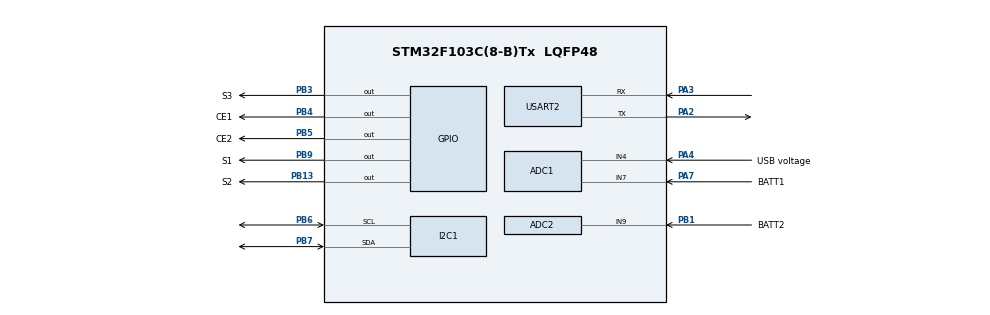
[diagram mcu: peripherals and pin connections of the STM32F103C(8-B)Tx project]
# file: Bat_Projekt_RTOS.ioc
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ADC1.Channel-1\#ChannelRegularConversion=ADC_CHANNEL_4
ADC1.NbrOfConversionFlag=1
ADC1.Rank-1\#ChannelRegularConversion=1
ADC1.SamplingTime-1\#ChannelRegularConversion=ADC_SAMPLETIME_1CYCLE_5
ADC1.master=1
ADC2.Channel-0\#ChannelRegularConversion=ADC_CHANNEL_9
ADC2.NbrOfConversionFlag=1
ADC2.Rank-0\#ChannelRegularConversion=1
ADC2.SamplingTime-0\#ChannelRegularConversion=ADC_SAMPLETIME_1CYCLE_5
Mcu.Family=STM32F1
Mcu.Name=STM32F103C(8-B)Tx
Mcu.Package=LQFP48
NVIC.PriorityGroup=NVIC_PRIORITYGROUP_4
PA2.Mode=Asynchronous
PA2.Signal=USART2_TX
PA3.Mode=Asynchronous
PA3.Signal=USART2_RX
PA4.GPIO_Label=USB voltage
PA4.Signal=ADCx_IN4
PA7.GPIO_Label=BATT1
PA7.Signal=ADCx_IN7
PB1.GPIO_Label=BATT2
PB1.Signal=ADCx_IN9
PB13.GPIO_Label=S2
PB13.Signal=GPIO_Output
PB3.GPIO_Label=S3
PB3.Signal=GPIO_Output
PB4.GPIO_Label=CE1
PB4.Signal=GPIO_Output
PB5.GPIO_Label=CE2
PB5.Signal=GPIO_Output
PB6.Mode=I2C
PB6.Signal=I2C1_SCL
PB7.Mode=I2C
PB7.Signal=I2C1_SDA
PB9.GPIO_Label=S1
PB9.Signal=GPIO_Output
ProjectManager.HeapSize=0x200
ProjectManager.StackSize=0x400
ProjectManager.TargetToolchain=STM32CubeIDE
RCC.APB1Freq_Value=8000000
RCC.APB2Freq_Value=8000000
SH.ADCx_IN4.0=ADC1_IN4,IN4
SH.ADCx_IN7.0=ADC1_IN7,IN7
SH.ADCx_IN9.0=ADC2_IN9,IN9
USART2.VirtualMode=VM_ASYNC
board=custom

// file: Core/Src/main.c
/* USER CODE BEGIN Header */
/**
  ******************************************************************************
  * @file           : main.c
  * @brief          : Main program body
  ******************************************************************************
  * @attention
  *
  * Copyright (c) 2023 STMicroelectronics.
  * All rights reserved.
  *
  * This software is licensed under terms that can be found in the LICENSE file
  * in the root directory of this software component.
  * If no LICENSE file comes with this software, it is provided AS-IS.
  *
  ******************************************************************************
  */
/* USER CODE END Header */
#include "main.h"

/* USER CODE BEGIN Includes */
#include <stdint.h>
#include "Rtosinclude.h"
#include "Queue.h"
#include "Mutex.h"
#include "Events.h"
#include <math.h>
#include <stdio.h>
#if !defined(__SOFT_FP__) && defined(__ARM_FP)
  #warning "FPU is not initialized, but the project is compiling for an FPU. Please initialize the FPU before use."
#endif

/* USER CODE END Includes */

/* USER CODE BEGIN PTD */

T_TaskTCB TaskUSB;
T_TaskTCB TaskCharge;
T_TaskTCB TaskBat1;
T_TaskTCB TaskBat2;
T_TaskTCB TaskFloat;
T_TaskTCB TaskDisplay;
T_TaskTCB TaskUART;

u32 StackTaskUSB[256];
u32 StackTaskCharge[256];
u32 StackTaskBat1[256];
u32 StackTaskBat2[256];
u32 StackTaskFloat[256];
u32 StackTaskDisplay[256];
u32 StackTaskUART[256];

ADC_ChannelConfTypeDef sConfig = {0};

T_MutexHandler_Ptr Mutex_BAT1;
T_MutexHandler_Ptr Mutex_BAT2;

/* USER CODE END PTD */

/* USER CODE BEGIN PD */

#define MED_BAT						0x0001
#define MED_USB						0x0010

/* USER CODE END PD */

ADC_HandleTypeDef hadc1;
ADC_HandleTypeDef hadc2;

I2C_HandleTypeDef hi2c1;

UART_HandleTypeDef huart2;

/* USER CODE BEGIN PV */

u32 	Adc_Bat1 	= 	0;
u32 	Adc_Bat2	= 	0;
u8 		USB_Charge 	=	0;

uint8_t MessageOled[35] = {'\0'};

f Float_Bat1 = 0;
f Float_Bat2 = 0;
T_EventHanlder Evento;

/* USER CODE END PV */

void SystemClock_Config(void);
static void MX_GPIO_Init(void);
static void MX_ADC1_Init(void);
static void MX_ADC2_Init(void);
static void MX_I2C1_Init(void);
static void MX_USART2_UART_Init(void);
/* USER CODE BEGIN PFP */
void FunctionTaskUSB (void);
void FunctionTaskCharge (void);
void FunctionTaskBat1 (void);
void FunctionTaskBat2 (void);
void FunctionTaskFloat (void);
void FunctionTaskDisplay (void);
void FunctionTaskUART (void);
/* USER CODE END PFP */

int main(void)
{
  /* USER CODE BEGIN 1 */

	RTOS_Init();

	//Task_Create(&Tarea3, 3, "Tarea3",1, (pu32)StackTarea3, 256, FunctionTarea3);

  /* USER CODE END 1 */

  /* MCU Configuration--------------------------------------------------------*/

  /* Reset of all peripherals, Initializes the Flash interface and the Systick. */
  HAL_Init();

  /* Configure the system clock */
  SystemClock_Config();

  /* Initialize all configured peripherals */
  MX_GPIO_Init();
  MX_ADC1_Init();
  MX_ADC2_Init();
  MX_I2C1_Init();
  MX_USART2_UART_Init();
  /* USER CODE BEGIN 2 */
	//ssd1306_Init();

	//ssd1306_SetColor(White);

	Mutex_Init(Mutex_BAT1);
	Mutex_Init(Mutex_BAT2);

	HAL_GPIO_WritePin(S1_GPIO_Port, S1_Pin, GPIO_PIN_RESET);
	HAL_GPIO_WritePin(S2_GPIO_Port, S2_Pin, GPIO_PIN_RESET);
	HAL_GPIO_WritePin(S3_GPIO_Port, S3_Pin, GPIO_PIN_RESET);
	HAL_GPIO_WritePin(CE1_GPIO_Port, CE1_Pin, GPIO_PIN_SET);
	HAL_GPIO_WritePin(CE2_GPIO_Port, CE2_Pin, GPIO_PIN_RESET);

  //RTOS_Start();
  /* USER CODE END 2 */

  /* Infinite loop */
  while (1)
  {

    /* USER CODE BEGIN 3 */
		sConfig.Channel = ADC_CHANNEL_7;
		sConfig.Rank = ADC_REGULAR_RANK_1;
		sConfig.SamplingTime = ADC_SAMPLETIME_1CYCLE_5;
		if (HAL_ADC_ConfigChannel(&hadc1, &sConfig) != HAL_OK)
		{
			Error_Handler();
		}
		HAL_ADC_Start(&hadc2);
		for(int i = 0; i<10000; i++);
		Adc_Bat2 = HAL_ADC_GetValue(&hadc2);
		Float_Bat1 = Adc_Bat2/4096.0 * 3.3 * 2;
		u8 message[35] = {'\0'};
		sprintf(message, "1 %.2f\r\n", Float_Bat1);
		HAL_UART_Transmit(&huart2, message, sizeof(message), 100);

  }
  /* USER CODE END 3 */
}

void SystemClock_Config(void)
{
  RCC_OscInitTypeDef RCC_OscInitStruct = {0};
  RCC_ClkInitTypeDef RCC_ClkInitStruct = {0};
  RCC_PeriphCLKInitTypeDef PeriphClkInit = {0};

  /** Initializes the RCC Oscillators according to the specified parameters
  * in the RCC_OscInitTypeDef structure.
  */
  RCC_OscInitStruct.OscillatorType = RCC_OSCILLATORTYPE_HSI;
  RCC_OscInitStruct.HSIState = RCC_HSI_ON;
  RCC_OscInitStruct.HSICalibrationValue = RCC_HSICALIBRATION_DEFAULT;
  RCC_OscInitStruct.PLL.PLLState = RCC_PLL_NONE;
  if (HAL_RCC_OscConfig(&RCC_OscInitStruct) != HAL_OK)
  {
    Error_Handler();
  }

  /** Initializes the CPU, AHB and APB buses clocks
  */
  RCC_ClkInitStruct.ClockType = RCC_CLOCKTYPE_HCLK|RCC_CLOCKTYPE_SYSCLK
                              |RCC_CLOCKTYPE_PCLK1|RCC_CLOCKTYPE_PCLK2;
  RCC_ClkInitStruct.SYSCLKSource = RCC_SYSCLKSOURCE_HSI;
  RCC_ClkInitStruct.AHBCLKDivider = RCC_SYSCLK_DIV1;
  RCC_ClkInitStruct.APB1CLKDivider = RCC_HCLK_DIV1;
  RCC_ClkInitStruct.APB2CLKDivider = RCC_HCLK_DIV1;

  if (HAL_RCC_ClockConfig(&RCC_ClkInitStruct, FLASH_LATENCY_0) != HAL_OK)
  {
    Error_Handler();
  }
  PeriphClkInit.PeriphClockSelection = RCC_PERIPHCLK_ADC;
  PeriphClkInit.AdcClockSelection = RCC_ADCPCLK2_DIV2;
  if (HAL_RCCEx_PeriphCLKConfig(&PeriphClkInit) != HAL_OK)
  {
    Error_Handler();
  }
}

static void MX_ADC1_Init(void)
{

  ADC_ChannelConfTypeDef sConfig = {0};

  /** Common config
  */
  hadc1.Instance = ADC1;
  hadc1.Init.ScanConvMode = ADC_SCAN_DISABLE;
  hadc1.Init.ContinuousConvMode = DISABLE;
  hadc1.Init.DiscontinuousConvMode = DISABLE;
  hadc1.Init.ExternalTrigConv = ADC_SOFTWARE_START;
  hadc1.Init.DataAlign = ADC_DATAALIGN_RIGHT;
  hadc1.Init.NbrOfConversion = 1;
  if (HAL_ADC_Init(&hadc1) != HAL_OK)
  {
    Error_Handler();
  }

  /** Configure Regular Channel
  */
  sConfig.Channel = ADC_CHANNEL_4;
  sConfig.Rank = ADC_REGULAR_RANK_1;
  sConfig.SamplingTime = ADC_SAMPLETIME_1CYCLE_5;
  if (HAL_ADC_ConfigChannel(&hadc1, &sConfig) != HAL_OK)
  {
    Error_Handler();
  }

}

static void MX_ADC2_Init(void)
{

  ADC_ChannelConfTypeDef sConfig = {0};

  /** Common config
  */
  hadc2.Instance = ADC2;
  hadc2.Init.ScanConvMode = ADC_SCAN_DISABLE;
  hadc2.Init.ContinuousConvMode = DISABLE;
  hadc2.Init.DiscontinuousConvMode = DISABLE;
  hadc2.Init.ExternalTrigConv = ADC_SOFTWARE_START;
  hadc2.Init.DataAlign = ADC_DATAALIGN_RIGHT;
  hadc2.Init.NbrOfConversion = 1;
  if (HAL_ADC_Init(&hadc2) != HAL_OK)
  {
    Error_Handler();
  }

  /** Configure Regular Channel
  */
  sConfig.Channel = ADC_CHANNEL_9;
  sConfig.Rank = ADC_REGULAR_RANK_1;
  sConfig.SamplingTime = ADC_SAMPLETIME_1CYCLE_5;
  if (HAL_ADC_ConfigChannel(&hadc2, &sConfig) != HAL_OK)
  {
    Error_Handler();
  }

}

static void MX_I2C1_Init(void)
{

  hi2c1.Instance = I2C1;
  hi2c1.Init.ClockSpeed = 100000;
  hi2c1.Init.DutyCycle = I2C_DUTYCYCLE_2;
  hi2c1.Init.OwnAddress1 = 0;
  hi2c1.Init.AddressingMode = I2C_ADDRESSINGMODE_7BIT;
  hi2c1.Init.DualAddressMode = I2C_DUALADDRESS_DISABLE;
  hi2c1.Init.OwnAddress2 = 0;
  hi2c1.Init.GeneralCallMode = I2C_GENERALCALL_DISABLE;
  hi2c1.Init.NoStretchMode = I2C_NOSTRETCH_DISABLE;
  if (HAL_I2C_Init(&hi2c1) != HAL_OK)
  {
    Error_Handler();
  }

}

static void MX_USART2_UART_Init(void)
{

  huart2.Instance = USART2;
  huart2.Init.BaudRate = 115200;
  huart2.Init.WordLength = UART_WORDLENGTH_8B;
  huart2.Init.StopBits = UART_STOPBITS_1;
  huart2.Init.Parity = UART_PARITY_NONE;
  huart2.Init.Mode = UART_MODE_TX_RX;
  huart2.Init.HwFlowCtl = UART_HWCONTROL_NONE;
  huart2.Init.OverSampling = UART_OVERSAMPLING_16;
  if (HAL_UART_Init(&huart2) != HAL_OK)
  {
    Error_Handler();
  }

}

static void MX_GPIO_Init(void)
{
  GPIO_InitTypeDef GPIO_InitStruct = {0};

  /* GPIO Ports Clock Enable */
  __HAL_RCC_GPIOA_CLK_ENABLE();
  __HAL_RCC_GPIOB_CLK_ENABLE();

  /*Configure GPIO pin Output Level */
  HAL_GPIO_WritePin(GPIOB, S2_Pin|S3_Pin|CE1_Pin|CE2_Pin
                          |S1_Pin, GPIO_PIN_RESET);

  /*Configure GPIO pins : S2_Pin S3_Pin CE1_Pin CE2_Pin
                           S1_Pin */
  GPIO_InitStruct.Pin = S2_Pin|S3_Pin|CE1_Pin|CE2_Pin
                          |S1_Pin;
  GPIO_InitStruct.Mode = GPIO_MODE_OUTPUT_PP;
  GPIO_InitStruct.Pull = GPIO_NOPULL;
  GPIO_InitStruct.Speed = GPIO_SPEED_FREQ_LOW;
  HAL_GPIO_Init(GPIOB, &GPIO_InitStruct);

}

/* USER CODE BEGIN 4 */

void FunctionTaskUSB(void){
	for(;;)
	{
		// Set up channel 4 (USB measure)
		  sConfig.Channel = ADC_CHANNEL_4;
		  sConfig.Rank = ADC_REGULAR_RANK_1;
		  sConfig.SamplingTime = ADC_SAMPLETIME_1CYCLE_5;
		  if (HAL_ADC_ConfigChannel(&hadc1, &sConfig) != HAL_OK)
		  {
		    Error_Handler();
		  }
		  HAL_ADC_Start(&hadc1);
		  Task_Sleep(1);
		  u32 Adc_usb = HAL_ADC_GetValue(&hadc1);
		  if(Adc_usb > 2482){
			  USB_Charge = 1;}
		  else {USB_Charge = 0;}
		  Events_Set(&Evento, MED_USB);

	}
}
void FunctionTaskCharge(void){
	for(;;)
	{
		Events_WaitAll(&Evento, MED_USB);
		Events_Clear(&Evento, MED_USB);
		if(USB_Charge == 1)
		{
			//Aislar baterias
			HAL_GPIO_WritePin(CE1_GPIO_Port, CE1_Pin, GPIO_PIN_RESET);
			HAL_GPIO_WritePin(CE2_GPIO_Port, CE2_Pin, GPIO_PIN_RESET);
			HAL_GPIO_WritePin(S1_GPIO_Port, S1_Pin, GPIO_PIN_SET);
			HAL_GPIO_WritePin(S2_GPIO_Port, S2_Pin, GPIO_PIN_SET);
			HAL_GPIO_WritePin(S3_GPIO_Port, S3_Pin, GPIO_PIN_RESET);

			//esperar por medicion de baterias
			Events_WaitAll(&Evento, MED_BAT);
			Events_Clear(&Evento, MED_BAT);
			while((USB_Charge == 1) && (fabs(Float_Bat1 - Float_Bat2) > 0.01))
			{
				//aislar bateria 1 de 2
				HAL_GPIO_WritePin(S1_GPIO_Port, S1_Pin, GPIO_PIN_RESET);
				HAL_GPIO_WritePin(S2_GPIO_Port, S2_Pin, GPIO_PIN_RESET);
				HAL_GPIO_WritePin(S3_GPIO_Port, S3_Pin, GPIO_PIN_RESET);
				sprintf(MessageOled, "Baterias aisladas cargando\r\n");
				//Iniciar carga de ambas
				HAL_GPIO_WritePin(CE1_GPIO_Port, CE1_Pin, GPIO_PIN_SET);
				HAL_GPIO_WritePin(CE2_GPIO_Port, CE2_Pin, GPIO_PIN_SET);
				Task_Sleep(3);
				Events_WaitAll(&Evento, MED_USB);
				Events_Clear(&Evento, MED_USB);
				Events_WaitAll(&Evento, MED_BAT);
				Events_Clear(&Evento, MED_BAT);
			}
			//Deshabilitar carga
			while( (USB_Charge == 1) && (Float_Bat1 >= 4.1 ) && (fabs(Float_Bat1 - Float_Bat2) < 0.01) )// Bat 1 y Bat 2 mayor o igual a 4 V
			{
				// deshabilitar carga
				HAL_GPIO_WritePin(CE1_GPIO_Port, CE1_Pin, GPIO_PIN_RESET);
				HAL_GPIO_WritePin(CE2_GPIO_Port, CE2_Pin, GPIO_PIN_RESET);
				// Poner baterias en paralelo
				HAL_GPIO_WritePin(S1_GPIO_Port, S1_Pin, GPIO_PIN_SET);
				HAL_GPIO_WritePin(S2_GPIO_Port, S2_Pin, GPIO_PIN_SET);
				HAL_GPIO_WritePin(S3_GPIO_Port, S3_Pin, GPIO_PIN_SET);
				sprintf(MessageOled, "Baterias en paralelo\r\n");
				Task_Sleep(3);
				Events_WaitAll(&Evento, MED_USB);
				Events_Clear(&Evento, MED_USB);
				Events_WaitAll(&Evento, MED_BAT);
				Events_Clear(&Evento, MED_BAT);
			}
			while( (USB_Charge == 1) && (Float_Bat1 < 4.1 ) && (fabs(Float_Bat1 - Float_Bat2) < 0.01)  ) // BAT1 y BAT2 menor a 4 v
			{
					//Poner baterias en paralelo
				HAL_GPIO_WritePin(S3_GPIO_Port, S3_Pin, GPIO_PIN_SET);
				sprintf(MessageOled, "Baterias en paralelo cargando\r\n");
					//quitar bateria 2 de cargador 2
				HAL_GPIO_WritePin(S2_GPIO_Port, S2_Pin, GPIO_PIN_RESET);
					//Cargar ambas baterias con cargador 1
				HAL_GPIO_WritePin(S1_GPIO_Port, S1_Pin, GPIO_PIN_RESET);
				HAL_GPIO_WritePin(CE1_GPIO_Port, CE1_Pin, GPIO_PIN_SET);
				HAL_GPIO_WritePin(CE2_GPIO_Port, CE2_Pin, GPIO_PIN_RESET);
				Task_Sleep(3);
				Events_WaitAll(&Evento, MED_USB);
				Events_Clear(&Evento, MED_USB);
				Events_WaitAll(&Evento, MED_BAT);
				Events_Clear(&Evento, MED_BAT);
			}
		}
		else
		{
			Events_WaitAll(&Evento, MED_BAT);
			Task_Sleep(10);
			Events_Clear(&Evento, MED_BAT);
			while ((fabs(Float_Bat1 - Float_Bat2) > 0.1) && (USB_Charge = 0))
			{
				//Mensaje para conectar cargador
				sprintf(MessageOled, "Conectar cargador\r\n");

				//Aislar baterias
				HAL_GPIO_WritePin(CE1_GPIO_Port, CE1_Pin, GPIO_PIN_RESET);
				HAL_GPIO_WritePin(CE2_GPIO_Port, CE2_Pin, GPIO_PIN_RESET);
				HAL_GPIO_WritePin(S1_GPIO_Port, S1_Pin, GPIO_PIN_SET);
				HAL_GPIO_WritePin(S2_GPIO_Port, S2_Pin, GPIO_PIN_SET);
				HAL_GPIO_WritePin(S3_GPIO_Port, S3_Pin, GPIO_PIN_RESET);

				Task_Sleep(3);
				Events_WaitAll(&Evento, MED_USB);
				Events_Clear(&Evento, MED_USB);
				Events_WaitAll(&Evento, MED_BAT);
				Events_Clear(&Evento, MED_BAT);
			}
			while ( (fabs(Float_Bat1 - Float_Bat2) <= 0.1) && (USB_Charge = 0))
			{
				//Baterias en paralelo
				HAL_GPIO_WritePin(CE1_GPIO_Port, CE1_Pin, GPIO_PIN_RESET);
				HAL_GPIO_WritePin(CE2_GPIO_Port, CE2_Pin, GPIO_PIN_RESET);
				HAL_GPIO_WritePin(S1_GPIO_Port, S1_Pin, GPIO_PIN_SET);
				HAL_GPIO_WritePin(S2_GPIO_Port, S2_Pin, GPIO_PIN_SET);
				HAL_GPIO_WritePin(S3_GPIO_Port, S3_Pin, GPIO_PIN_SET);
				sprintf(MessageOled, "Baterias en paralelo\r\n");
				//Mensaje de baterias balanceadas
				Task_Sleep(3);
				Events_WaitAll(&Evento, MED_USB);
				Events_Clear(&Evento, MED_USB);
				Events_WaitAll(&Evento, MED_BAT);
				Events_Clear(&Evento, MED_BAT);
			}
		}
		HAL_GPIO_WritePin(CE1_GPIO_Port, CE1_Pin, GPIO_PIN_RESET);
		HAL_GPIO_WritePin(CE2_GPIO_Port, CE2_Pin, GPIO_PIN_RESET);
	}
}

void FunctionTaskBat1(void){

	for(;;)
	{
		//borrar bandera de envento
		Mutex_Take(Mutex_BAT1);
		sConfig.Channel = ADC_CHANNEL_7;
		sConfig.Rank = ADC_REGULAR_RANK_1;
		sConfig.SamplingTime = ADC_SAMPLETIME_1CYCLE_5;
		if (HAL_ADC_ConfigChannel(&hadc1, &sConfig) != HAL_OK)
		{
			Error_Handler();
		}
		HAL_ADC_Start(&hadc1);
		Task_Sleep(1);
		Adc_Bat1 = HAL_ADC_GetValue(&hadc1);
		Mutex_Give(Mutex_BAT1);
		Task_Sleep(10);

	}

}

void FunctionTaskBat2(void)
{

	while(1)
	{
		Mutex_Take(Mutex_BAT1);
		HAL_ADC_Start(&hadc2);
		Task_Sleep(1);
		Adc_Bat2 = HAL_ADC_GetValue(&hadc2);
		Mutex_Give(Mutex_BAT1);
		Task_Sleep(10);

	}
}
void FunctionTaskFloat(void)
{
	while(1)
	{
		Mutex_Take(Mutex_BAT1);
		Mutex_Take(Mutex_BAT2);
		Float_Bat1 = Adc_Bat2/4096.0 * 3.3 * 2;
		Float_Bat2 = Adc_Bat2/4096.0 * 3.3 * 2;
		Events_Set(&Evento, MED_BAT);
		Mutex_Give(Mutex_BAT1);
		Mutex_Give(Mutex_BAT2);
		Task_Sleep(5);
	}
}

void FunctionTaskDisplay(void)
{
	while(1)
	{
		HAL_UART_Transmit(&huart2, MessageOled, sizeof(MessageOled), 100);
		Task_Sleep(10);
	}
	{

		ssd1306_Clear();

		ssd1306_SetCursor(50, 15);
		ssd1306_WriteString("Voltaje Bateria 1: ",Font_7x10);
		i len = snprintf(NULL, 0, "%f", Float_Bat1);
		c *result = malloc(len + 1);
		snprintf(result, len + 1, "%.2f\r\n", Float_Bat1);
		ssd1306_WriteString(result,Font_7x10);

		ssd1306_SetCursor(60, 15);
		ssd1306_WriteString("Voltaje Bateria 2: ",Font_7x10);
		len = snprintf(NULL, 0, "%f", Float_Bat2);
		result = malloc(len + 1);
		snprintf(result, len + 1, "%.2f\r\n", Float_Bat2);
		ssd1306_WriteString(result,Font_7x10);

		Task_Sleep(10);
		ssd1306_UpdateScreen();

	}
}

void FunctionTaskUART(void)
{
	while(1)
	{

		  u8 message[35] = {'\0'};
		  sprintf(message, "1 %.2f\r\n", Float_Bat1);
		  HAL_UART_Transmit(&huart2, message, sizeof(message), 100);
		  sprintf(message, "2 %.2f\r\n", Float_Bat2);
		  HAL_UART_Transmit(&huart2, message, sizeof(message), 100);
		  Task_Sleep(500);

	}
}

/* USER CODE END 4 */

void Error_Handler(void)
{
  __disable_irq();
  while (1)
  {
  }
}
